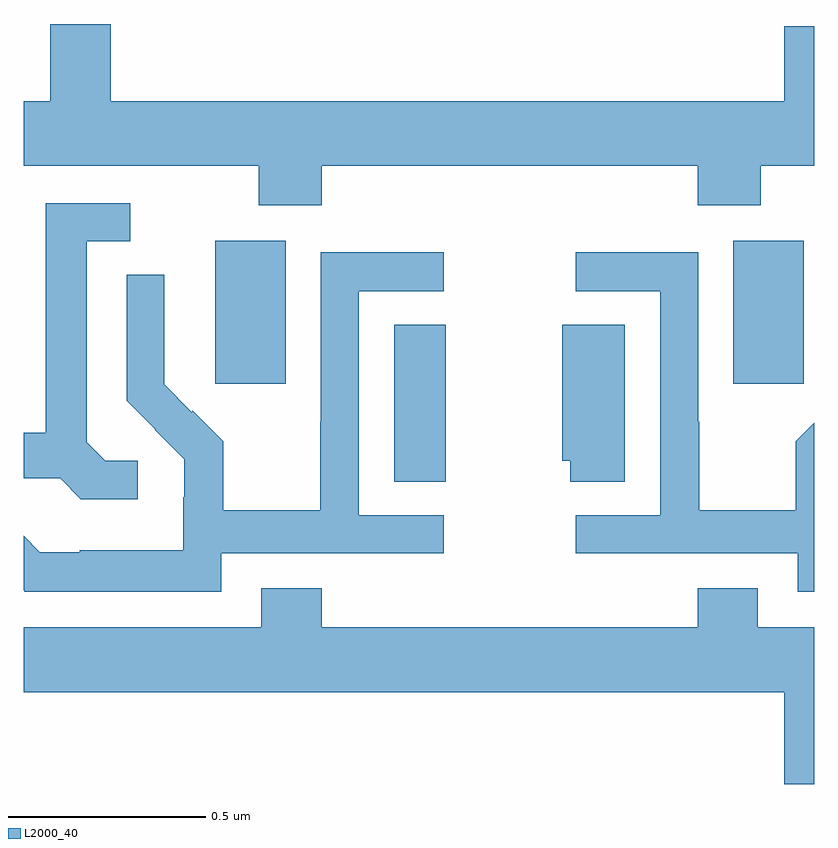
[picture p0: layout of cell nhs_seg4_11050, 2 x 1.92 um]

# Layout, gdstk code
import gdstk
lib = gdstk.Library(unit=1e-6, precision=1e-09)
def R(c, l, rs):  # rectangles x0, y0, x1, y1
    for r in rs: c.add(gdstk.rectangle(r[:2], r[2:], *l))
def P(c, l, *ps):  # polygons
    for p in ps: c.add(gdstk.Polygon(p, *l))
L2000_40 = (2000, 40)

nhs_seg4_11050 = lib.new_cell('nhs_seg4_11050')
R(nhs_seg4_11050, L2000_40, [(247.937,818.665,248.068,819.062), (247.484,818.913,247.663,819.274), (248.795,818.913,248.974,819.274)])
P(nhs_seg4_11050, L2000_40, [(247.754,819.464),(248.705,819.464),(248.705,819.365),(248.865,819.365),(248.865,819.464),(249,819.464),(249,819.817),(248.924,819.817),(248.924,819.628),(247.22,819.628),(247.22,819.823),(247.067,819.823),(247.067,819.628),(247,819.628),(247,819.464),(247.594,819.464),(247.594,819.365),(247.754,819.365)],
  [(247.288,818.718),(247.206,818.718),(247.159,818.765),(247.159,819.273),(247.27,819.273),(247.27,819.369),(247.055,819.369),(247.055,818.789),(247,818.789),(247,818.673),(247.092,818.673),(247.144,818.621),(247.288,818.621)],
  [(247.5,818.484),(248.062,818.484),(248.062,818.58),(247.848,818.58),(247.848,819.147),(248.062,819.147),(248.062,819.246),(247.752,819.246),(247.752,818.816),(247.75,818.816),(247.75,818.593),(247.505,818.593),(247.505,818.767),(247.428,818.844),(247.425,818.841),(247.355,818.912),(247.355,819.034),(247.356,819.034),(247.356,819.188),(247.26,819.188),(247.26,818.87),(247.333,818.797),(247.332,818.796),(247.406,818.722),(247.406,818.625),(247.404,818.625),(247.404,818.491),(247.141,818.491),(247.141,818.487),(247.041,818.487),(247,818.528),(247,818.39),(247.003,818.387),(247.5,818.387)],
  [(249,818.814),(248.953,818.767),(248.953,818.593),(248.709,818.593),(248.709,818.816),(248.706,818.816),(248.706,819.246),(248.397,819.246),(248.397,819.147),(248.61,819.147),(248.61,818.58),(248.397,818.58),(248.397,818.484),(248.958,818.484),(248.958,818.387),(249,818.387)],
  [(248.521,819.062),(248.363,819.062),(248.363,818.718),(248.383,818.718),(248.383,818.665),(248.521,818.665)],
  [(249,818.296),(248.857,818.296),(248.857,818.395),(248.705,818.395),(248.705,818.296),(247.754,818.296),(247.754,818.395),(247.601,818.395),(247.601,818.296),(247,818.296),(247,818.132),(248.924,818.132),(248.924,817.9),(249,817.9)])

lib.write_gds('nhs_seg4_11050.gds')
